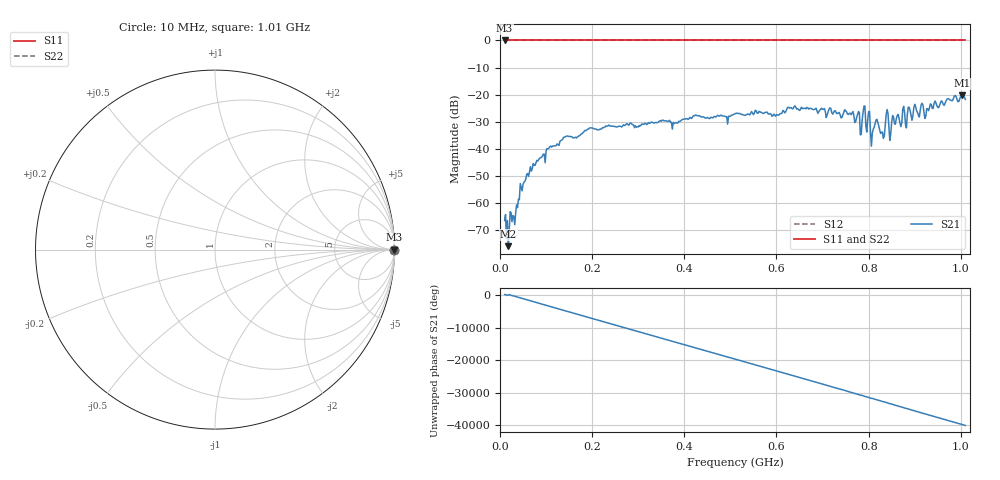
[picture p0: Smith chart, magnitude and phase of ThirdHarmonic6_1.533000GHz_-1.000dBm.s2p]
! 8/16/2025 6:09:19 PM
! C:\ANRITSUVNA\TEMP\TEMP.S2P
! CHANNEL.1
! TR.MEASUREMENT
! RAW.DATA
! RF.CORRECTION.OFF
! AVERAGING.OFF
! IF.BANDWIDTH: 5KHZ
! SWEEPTYPE:  FREQ.SWEEP(Linear)
! Reference Plane Port Info
! PORT:  PORT1  PORT2
! DISTANCE:  0  m  0  m
! TIME:  0  s  0  s
! PHASE.OFFSET:  0  deg.  0  deg.
! LOSS:  0  dB  0  dB
! REF.LOSS:  0  dB  0  dB
! REF.FREQ:  0  Hz  0  Hz
! Power Info
! POWER:  -20  dBm  -20  dBm
! EFF.POWER:  -20  dBm  -20  dBm
! SOURCE.ATTEN:  0  dB  0  dB
! TEST.ATTEN:  0  dB  0  dB
# GHZ S RI R 50.0
! FREQ.GHZ  S11RE  S11IM  S21RE  S21IM  S12RE  S12IM  S22RE  S22IM
!; PortSelection: Port_12
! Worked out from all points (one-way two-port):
!   501 points, 10 MHz to 1.01 GHz, reference 50 ohm
!   highest |S21| = -20.21 dB at 1.002 GHz (marker M1); lowest = -75.9 dB at 18 MHz (marker M2)
!   lowest |S11| = 0.0 dB at 10 MHz (marker M3)
!   |S11| at or under -10 dB: nowhere
!   |S22| runs from 0.0 to 0.0 dB; largest |S21 - S12| = 1.1
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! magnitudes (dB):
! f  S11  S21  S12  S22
! 10 MHz  0.0  -66.4  0.0  0.0
! 18 MHz  0.0  -75.9  0.0  0.0
! 34 MHz  0.0  -63.7  0.0  0.0
! 48 MHz  0.0  -55.5  0.0  0.0
! 70 MHz  0.0  -47.3  0.0  0.0
! 106 MHz  0.0  -39.8  0.0  0.0
! 178 MHz  0.0  -34.4  0.0  0.0
! 344 MHz  0.0  -30.0  0.0  0.0
! 510 MHz  0.0  -27.1  0.0  0.0
! 678 MHz  0.0  -25.4  0.0  0.0
! 762 MHz  0.0  -27.4  0.0  0.0
! 784 MHz  0.0  -34.6  0.0  0.0
! 790 MHz  0.0  -24.2  0.0  0.0
! 808 MHz  0.0  -34.2  0.0  0.0
! 816 MHz  0.0  -29.4  0.0  0.0
! 830 MHz  0.0  -33.8  0.0  0.0
! 840 MHz  0.0  -25.5  0.0  0.0
! 844 MHz  0.0  -31.9  0.0  0.0
! 902 MHz  0.0  -24.4  0.0  0.0
! 926 MHz  0.0  -25.2  0.0  0.0
! 1.002 GHz  0.0  -20.2  0.0  0.0
! 1.01 GHz  0.0  -21.8  0.0  0.0
